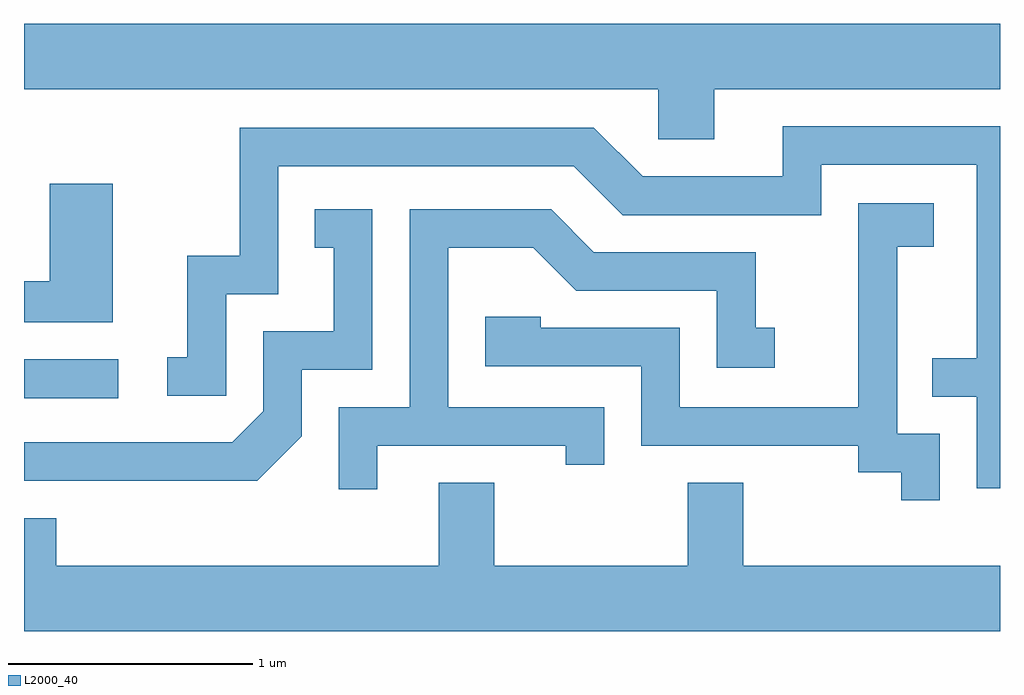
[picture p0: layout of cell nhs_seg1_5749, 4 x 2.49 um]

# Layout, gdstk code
import gdstk
lib = gdstk.Library(unit=1e-6, precision=1e-09)
def R(c, l, rs):  # rectangles x0, y0, x1, y1
    for r in rs: c.add(gdstk.rectangle(r[:2], r[2:], *l))
def P(c, l, *ps):  # polygons
    for p in ps: c.add(gdstk.Polygon(p, *l))
L2000_40 = (2000, 40)

nhs_seg1_5749 = lib.new_cell('nhs_seg1_5749')
R(nhs_seg1_5749, L2000_40, [(357.611,956.031,357.998,956.189)])
P(nhs_seg1_5749, L2000_40, [(360.439,957.296),(361.611,957.296),(361.611,957.564),(357.611,957.564),(357.611,957.296),(360.211,957.296),(360.211,957.091),(360.439,957.091)],
  [(361.611,957.144),(360.721,957.144),(360.721,956.939),(360.147,956.939),(359.947,957.139),(358.496,957.139),(358.496,956.614),(358.281,956.614),(358.281,956.199),(358.198,956.199),(358.198,956.041),(358.439,956.041),(358.439,956.456),(358.654,956.456),(358.654,956.981),(359.864,956.981),(360.064,956.781),(360.879,956.781),(360.879,956.986),(361.516,956.986),(361.516,956.194),(361.333,956.194),(361.333,956.036),(361.516,956.036),(361.516,955.661),(361.611,955.661)],
  [(357.974,956.909),(357.716,956.909),(357.716,956.509),(357.611,956.509),(357.611,956.341),(357.974,956.341)],
  [(361.364,955.884),(361.189,955.884),(361.189,956.651),(361.339,956.651),(361.339,956.829),(361.031,956.829),(361.031,955.994),(360.299,955.994),(360.299,956.319),(359.729,956.319),(359.729,956.364),(359.501,956.364),(359.501,956.161),(360.141,956.161),(360.141,955.836),(361.031,955.836),(361.031,955.726),(361.206,955.726),(361.206,955.613),(361.364,955.613)],
  [(358.749,955.874),(358.749,956.146),(359.039,956.146),(359.039,956.804),(358.803,956.804),(358.803,956.646),(358.881,956.646),(358.881,956.304),(358.591,956.304),(358.591,955.977),(358.464,955.849),(357.611,955.849),(357.611,955.691),(358.567,955.691)],
  [(359.059,955.836),(359.831,955.836),(359.831,955.758),(359.989,955.758),(359.989,955.994),(359.349,955.994),(359.349,956.646),(359.699,956.646),(359.874,956.471),(360.451,956.471),(360.451,956.156),(360.688,956.156),(360.688,956.319),(360.609,956.319),(360.609,956.629),(359.947,956.629),(359.772,956.804),(359.191,956.804),(359.191,955.994),(358.901,955.994),(358.901,955.658),(359.059,955.658)],
  [(361.611,955.344),(360.559,955.344),(360.559,955.684),(360.331,955.684),(360.331,955.344),(359.539,955.344),(359.539,955.684),(359.311,955.684),(359.311,955.344),(357.744,955.344),(357.744,955.539),(357.611,955.539),(357.611,955.076),(361.611,955.076)])

lib.write_gds('nhs_seg1_5749.gds')
